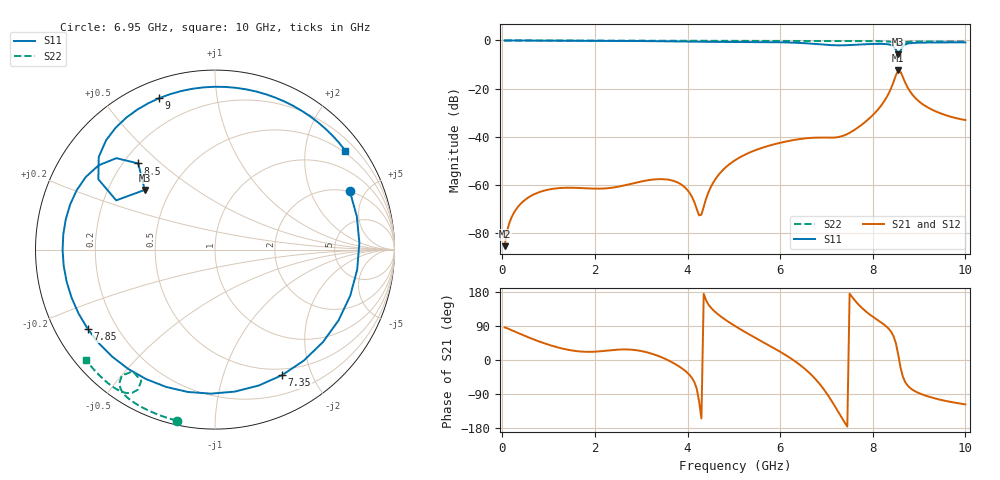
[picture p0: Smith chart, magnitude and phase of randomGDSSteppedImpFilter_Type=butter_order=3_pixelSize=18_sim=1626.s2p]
! freq	dB(S11)	phase(S11)	dB(S12)	phase(S12)
!  dB(S21)	phase(S21)	dB(S22)	phase(S22)
!S-par simulation data
#  GHz  S  DB  R 50
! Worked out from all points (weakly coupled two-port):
!   200 points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, 50 MHz to 10 GHz, reference 50 ohm
!   highest |S21| = -12.43 dB at 8.55 GHz (marker M1); lowest = -85.3 dB at 50 MHz (marker M2)
!   lowest |S11| = -5.8 dB at 8.55 GHz (marker M3), VSWR 3.11, Z = 18 + j16.3 ohm
!   |S11| at or under -10 dB: nowhere
!   |S22| runs from -1.7 to 0.0 dB; largest |S21 - S12| = 0
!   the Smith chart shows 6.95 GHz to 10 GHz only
!   S11 on the Smith chart (normalised r, x): 6.95 GHz: 1.98, +3.88; 7.35 GHz: 0.42, -1.59; 7.85 GHz: 0.10, -0.28; 8.5 GHz: 0.26, +0.42; 9 GHz: 0.08, +0.69; 10 GHz: 0.44, +2.91
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0.05  -0.00 -4.8  -85.28 86.1  -85.28 86.1  -0.00 -0.8
0.35  -0.04 -32.9  -68.70 70.8  -68.70 70.8  -0.01 -5.7
0.85  -0.09 -76.9  -62.54 46.5  -62.54 46.5  -0.02 -13.7
1.75  -0.15 -144.4  -61.24 21.9  -61.24 21.9  -0.04 -28.0
2.6  -0.20 157.2  -60.24 27.9  -60.24 27.9  -0.05 -41.2
3.4  -0.32 91.6  -57.48 9.2  -57.48 9.2  -0.07 -53.3
3.95  -0.47 31.8  -61.03 -28.7  -61.03 -28.7  -0.08 -61.4
4.25  -0.54 -6.0  -72.51 -109.6  -72.51 -109.6  -0.09 -65.7
4.65  -0.60 -57.5  -56.21 121.3  -56.21 121.3  -0.10 -71.4
5.05  -0.62 -104.9  -49.35 87.8  -49.35 87.8  -0.12 -77.0
5.9  -0.73 168.1  -42.90 28.9  -42.90 28.9  -0.15 -88.7
6.4  -1.00 112.4  -40.95 -10.3  -40.95 -10.3  -0.18 -95.3
6.7  -1.35 69.1  -40.35 -42.3  -40.35 -42.3  -0.19 -99.3
6.95  -1.74 23.4  -40.30 -78.5  -40.30 -78.5  -0.21 -102.6
7.35  -2.01 -61.8  -39.57 -156.5  -39.57 -156.5  -0.24 -107.9
7.85  -1.56 -148.1  -33.57 128.2  -33.57 128.2  -0.28 -114.6
8.35  -1.66 150.6  -21.71 81.7  -21.71 81.7  -0.47 -122.9
8.5  -3.83 131.7  -14.41 43.8  -14.41 43.8  -1.18 -126.5
8.55  -5.79 139.6  -12.43 13.8  -12.43 13.8  -1.74 -124.0
8.7  -1.64 141.4  -17.46 -58.1  -17.46 -58.1  -0.71 -120.0
9  -0.92 110.2  -25.30 -87.6  -25.30 -87.6  -0.42 -126.1
10  -0.80 37.3  -32.99 -117.2  -32.99 -117.2  -0.48 -139.6
